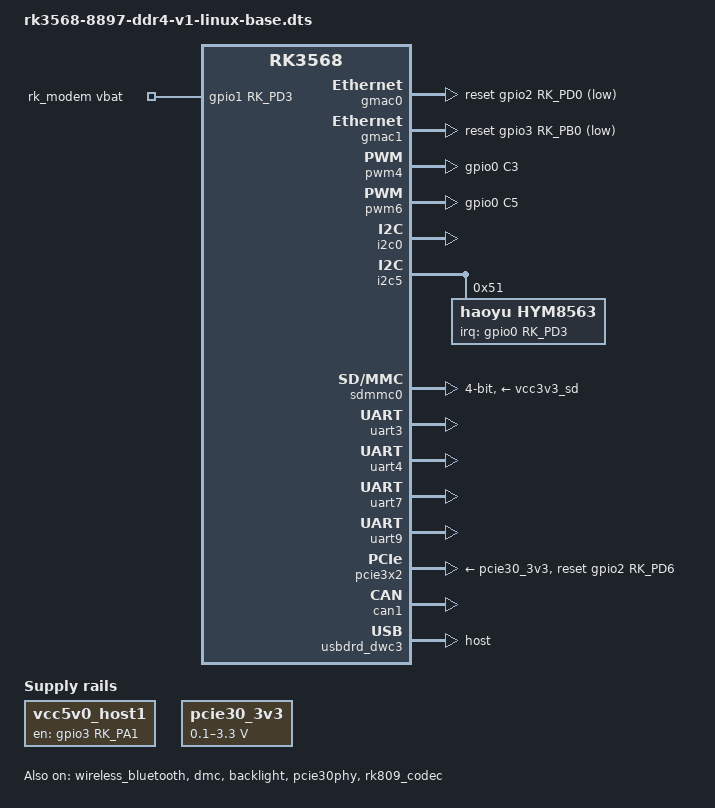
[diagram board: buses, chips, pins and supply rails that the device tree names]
// SPDX-License-Identifier: (GPL-2.0+ OR MIT)
/*
 * Copyright (c) 2020 Rockchip Electronics Co., Ltd.
 *
 */

#include "rk3568-evb1-ddr4-v10.dtsi"
#include "rk3568-linux.dtsi"
#include <dt-bindings/display/rockchip_vop.h>

/ {
    boardtype = "RK3568 8897 board V1 (linux base)";

	chosen: chosen {
		bootargs = "earlycon=uart8250,mmio32,0xfe660000 console=ttyFIQ0 root=PARTUUID=614e0000-0000 rw rootwait";
	};

	fiq-debugger {
		compatible = "rockchip,fiq-debugger";
		rockchip,serial-id = <2>;
		rockchip,wake-irq = <0>;
		/* If enable uart uses irq instead of fiq */
		rockchip,irq-mode-enable = <1>;
		rockchip,baudrate = <115200>;  /* Only 115200 and 1500000 */
		interrupts = <GIC_SPI 252 IRQ_TYPE_LEVEL_LOW>;
		pinctrl-names = "default";
		pinctrl-0 = <&uart2m0_xfer>;
		status = "okay";
	};

    lvds_panel: lvds-panel {
		compatible = "simple-panel";
        status = "disabled";
    };

    edp_panel: edp-panel {
        compatible ="simple-panel";
        status = "disabled";
    };

    ryd_gpio_control:ryd-gpio-control {
        compatible = "ryd_gpio_control";
        #address-cells = <1>;
        #size-cells = <0>;

        pinctrl-names = "default";
        pinctrl-0 = <&gl3523_reset &usb_host_en &hub_rst &gpio3_a4_mux &gpio3_a5_mux &gpio3_b5 &gpio3_c1 &gpio0_c4>;
        status = "okay";

	   	gl3523_rst: gl3523-rst {
		    gpio = <&gpio4 RK_PD2 GPIO_ACTIVE_HIGH>;
            //can set dir_in, default is dir_out
		    pull_cfg = <0>; //<0>=null, <1>=pulldown, <2>=pullup
		    sys_create;  // if set, will export the gpio in sysfs
		    export;
	    };

	   	usb_host_en{
		    gpio = <&gpio0 RK_PC6 GPIO_ACTIVE_HIGH>;
            //can set dir_in, default is dir_out
		    pull_cfg = <0>; //<0>=null, <1>=pulldown, <2>=pullup
		    sys_create;  // if set, will export the gpio in sysfs
		    export;
	    };
/*
	   	pcie_pwren{
		    gpio = <&gpio2 RK_PD7 GPIO_ACTIVE_HIGH>;
            //can set dir_in, default is dir_out
		    pull_cfg = <0>; //<0>=null, <1>=pulldown, <2>=pullup
		    //sys_create;  // if set, will export the gpio in sysfs
		    //export;
	    };
*/
	    hub_rst {
		    gpio = <&gpio3 RK_PA0 GPIO_ACTIVE_HIGH>;
            //can set dir_in, default is dir_out
		    pull_cfg = <0>; //<0>=null, <1>=pulldown, <2>=pullup
		    //sys_create;  // if set, will export the gpio in sysfs
	    };

	    gpio3_a4:gpio3_a4   {
		    gpio = <&gpio3 RK_PA4 GPIO_ACTIVE_HIGH>;
            //can set dir_in, default is dir_out
		    pull_cfg = <0>; //<0>=null, <1>=pulldown, <2>=pullup
		    sys_create;  // if set, will export the gpio in sysfs
		    export;
	    };

	    gpio3_a5:gpio3_a5  {
		    gpio = <&gpio3 RK_PA5 GPIO_ACTIVE_HIGH>;
            //can set dir_in, default is dir_out
		    pull_cfg = <0>; //<0>=null, <1>=pulldown, <2>=pullup
		    sys_create;  // if set, will export the gpio in sysfs
		    export;
	    };

	    gpio3_b5 {
		    gpio = <&gpio3 RK_PB5 GPIO_ACTIVE_HIGH>;
            //can set dir_in, default is dir_out
		    pull_cfg = <0>; //<0>=null, <1>=pulldown, <2>=pullup
		    sys_create;  // if set, will export the gpio in sysfs
		    export;
	    };
	    gpio3_c1{
		    gpio = <&gpio3 RK_PC1 GPIO_ACTIVE_HIGH>;
            //can set dir_in, default is dir_out
		    pull_cfg = <0>; //<0>=null, <1>=pulldown, <2>=pullup
		    sys_create;  // if set, will export the gpio in sysfs
		    export;
	    };
	   	gpio0_c4{
		    gpio = <&gpio0 RK_PC4 GPIO_ACTIVE_HIGH>;
            //can set dir_in, default is dir_out
		    pull_cfg = <0>; //<0>=null, <1>=pulldown, <2>=pullup
		    sys_create;  // if set, will export the gpio in sysfs
		    export;
	    };
    };

	rk_modem: rk-modem {
		compatible="4g-modem-platdata";
		pinctrl-names = "default";
		pinctrl-0 = <&lte_power_en &lte_reset>;
		4G,vbat-gpio = <&gpio1 RK_PD3 GPIO_ACTIVE_HIGH>;
        4G,disable = <&gpio1 RK_PB0 GPIO_ACTIVE_HIGH>;
		4G,power = <&gpio0 RK_PA0 GPIO_ACTIVE_HIGH>;
		4G,reset = <&gpio1 RK_PB2 GPIO_ACTIVE_HIGH>;
		status = "okay";
	};
/*
    usb_host_en: usb-host-en {
        compatible = "regulator-fixed";
        regulator-name = "usb-host-en";
        gpio = <&gpio0 RK_PC6 GPIO_ACTIVE_HIGH>;
        regulator-min-microvolt = <3300000>;
        regulator-max-microvolt = <3300000>;
        enable-active-high;
        regulator-always-on;
        regulator-boot-on;
    };
*/
	vcc5v0_host1: vcc5v0-host1-regulator {
		compatible = "regulator-fixed";
		enable-active-high;
		gpio = <&gpio3 RK_PA1 GPIO_ACTIVE_HIGH>;
		pinctrl-names = "default";
		pinctrl-0 = <&vcc5v0_host1_en>;
		regulator-name = "vcc5v0_host1";
		regulator-always-on;
	};

	pcie30_3v3: gpio-regulator {
		compatible = "regulator-gpio";
		regulator-name = "pcie30_3v3";
		regulator-min-microvolt = <100000>;
		regulator-max-microvolt = <3300000>;
		gpios = <&gpio2 RK_PD7 GPIO_ACTIVE_HIGH>;
		gpios-states = <0x1>;
		states = <100000 0x0
			  3300000 0x1>;
	};
};

&wireless_bluetooth {
	compatible = "bluetooth-platdata";
	clocks = <&rk809 1>;
	clock-names = "ext_clock";
	//wifi-bt-power-toggle;
	uart_rts_gpios = <&gpio2 RK_PB1 GPIO_ACTIVE_LOW>;
	pinctrl-names = "default", "rts_gpio";
	pinctrl-0 = <&uart8m0_rtsn>;
	pinctrl-1 = <&uart8_gpios>;
	BT,reset_gpio    = <&gpio0 RK_PD4 GPIO_ACTIVE_HIGH>;
	BT,wake_gpio     = <&gpio0 RK_PD6 GPIO_ACTIVE_HIGH>;
	BT,wake_host_irq = <&gpio0 RK_PD5 GPIO_ACTIVE_HIGH>;
	status = "okay";
};

&gmac0 {
	snps,reset-gpio = <&gpio2 RK_PD0 GPIO_ACTIVE_LOW>;
	status = "okay";
};

&gmac1 {
	snps,reset-gpio = <&gpio3 RK_PB0 GPIO_ACTIVE_LOW>;
	status = "okay";
};

// EDP1 backlight
&pwm4 {
    status = "okay";
    pinctrl-names = "active";
    pinctrl-0 = <&pwm4_pins>;
};

&pwm5 {
    status = "disabled";
};

&pwm6 {
    status = "okay";
    pinctrl-names = "active";
    pinctrl-0 = <&pwm6_pins>;
};

// LVDS backlight
&pwm7 {
    status = "disabled";
    pinctrl-names = "active";
    pinctrl-0 = <&pwm7_pins>;
};

&dmc {
    compatible = "rockchip,rk3568-dmc";
    interrupts = <GIC_SPI 10 IRQ_TYPE_LEVEL_HIGH>;
    interrupt-names = "complete";
    devfreq-events = <&dfi>;
    //clocks = <&cru SCLK_DDRCLK>;
    clock-names = "dmc_clk";
    operating-points-v2 = <&dmc_opp_table>;

    system-status-freq = <
        /*system status         freq(KHz)*/
        SYS_STATUS_NORMAL       780000
        SYS_STATUS_REBOOT       1184000
        SYS_STATUS_SUSPEND      324000
        SYS_STATUS_VIDEO_4K     780000
        SYS_STATUS_VIDEO_4K_10B 780000
        SYS_STATUS_BOOST        1184000
        SYS_STATUS_ISP          1184000
        SYS_STATUS_PERFORMANCE  1184000
        SYS_STATUS_DUALVIEW     1184000
    >;

    status = "okay";
};

&dmc_opp_table{
    compatible = "operating-points-v2";

    mbist-vmin = <825000 900000 950000>;
    nvmem-cells = <&log_leakage>, <&core_pvtm>, <&mbist_vmin>;
    nvmem-cell-names = "leakage", "pvtm", "mbist-vmin";
    rockchip,temp-hysteresis = <5000>;
    rockchip,low-temp = <0>;
    rockchip,low-temp-adjust-volt = <
        /* MHz    MHz    uV */
            0      1560   25000
    >;
    rockchip,leakage-voltage-sel = <
            1   80    0
            81  254   1
    >;

    opp-324000000 {
        opp-hz = /bits/ 64 <324000000>;
        opp-microvolt = <900000>;
        opp-microvolt-L0 = <900000>;
        opp-microvolt-L1 = <850000>;
    };
    opp-528000000 {
        opp-hz = /bits/ 64 <528000000>;
        opp-microvolt = <900000>;
        opp-microvolt-L0 = <900000>;
        opp-microvolt-L1 = <850000>;
    };
    opp-780000000 {
        opp-hz = /bits/ 64 <780000000>;
        opp-microvolt = <900000>;
        opp-microvolt-L0 = <900000>;
        opp-microvolt-L1 = <850000>;
    };
    opp-920000000 {
        opp-hz = /bits/ 64 <920000000>;
        opp-microvolt = <900000>;
        opp-microvolt-L0 = <900000>;
        opp-microvolt-L1 = <850000>;
    };
    opp-1184000000 {
        opp-hz = /bits/ 64 <1184000000>;
        opp-microvolt = <900000>;
        opp-microvolt-L0 = <900000>;
        opp-microvolt-L1 = <850000>;
    };
    opp-1560000000 {
        opp-hz = /bits/ 64 <1560000000>;
        opp-microvolt = <900000>;
        opp-microvolt-L0 = <900000>;
        opp-microvolt-L1 = <850000>;
        status = "disabled";
    };
};

&i2c0 {
    status = "okay";
};

&i2c4 {
    status = "disabled";
};

&i2c5 {
    status = "okay";

	hym8563: hym8563@51 {
		compatible = "haoyu,hym8563";
		reg = <0x51>;

		interrupt-parent = <&gpio0>;
		interrupts = <RK_PD3 IRQ_TYPE_EDGE_FALLING>;

		pinctrl-names = "default";
		pinctrl-0 = <&pmic_int>;

		#clock-cells = <0>;
		clock-output-names = "xin32k";
	};
};

&rk809 {
	rtc {
		status = "disabled";
	};
};

// MIPI-DSI configuration
&dsi0 {
	status = "disabled";
};


&dsi0_in_vp0 {
	status = "disabled";
};

&dsi0_in_vp1 {
    status = "disabled";
};

&sdmmc0 {
	max-frequency = <150000000>;
	supports-sd;
	bus-width = <4>;
	cap-mmc-highspeed;
	cap-sd-highspeed;
	disable-wp;
	sd-uhs-sdr104;
	vmmc-supply = <&vcc3v3_sd>;
	vqmmc-supply = <&vccio_sd>;
	pinctrl-names = "default";
	pinctrl-0 = <&sdmmc0_bus4 &sdmmc0_clk &sdmmc0_cmd &sdmmc0_det>;
	status = "okay";
};

&pmu_io_domains {
	status = "okay";
	pmuio1-supply = <&vcc3v3_pmu>;
	pmuio2-supply = <&vcc3v3_pmu>;
	vccio1-supply = <&vccio_acodec>;
	vccio3-supply = <&vccio_sd>;
	vccio4-supply = <&vcc_1v8>;
	vccio5-supply = <&vcc_3v3>;
	vccio6-supply = <&vcc_1v8>;
	vccio7-supply = <&vcc_3v3>;

};

&vcc3v3_lcd0_n {
	gpio = <&gpio0 RK_PC5 GPIO_ACTIVE_HIGH>;
	enable-active-high;
    regulator-always-on;
};

&vcc3v3_lcd1_n {
	gpio = <&gpio0 RK_PC7 GPIO_ACTIVE_HIGH>;
	enable-active-high;
    regulator-always-on;
};

&backlight {
    status = "okay";
	pwms = <&pwm4 0 500000 0>;
    enable-gpios = <&gpio3 RK_PA2 GPIO_ACTIVE_LOW>;
    pinctrl-0 = <&lcd0_bl_en>;      
	brightness-levels = <
			255	254	253	252	251	250	249	248	
		 	247 246 245 244 243 242 241 240
			239 238 237 236 235 234 233 232 
			231 230 229 228 227 226 225 224 
			223 222 221 220 219 218 217 216 
			215 214 213 212 211 210 209 208 
			207 206 205 204 203 202 201 200 
			199 198 197 196 195 194 193 192 
			191 190 189 188 187 186 185 184 
			183 182 181 180 179 178 177 176 
			175 174 173 172 171 170 169 168 
			167 166 165 164 163 162 161 160 
			159 158 157 156 155 154 153 152 
			151 150 149 148 147 146 145 144 
			143 142 141 140 139 138 137 136 
			135 134 133 132 131 130 129 128 
			127 126 125 124 123 122 121 120 
			119 118 117 116 115 114 113 112 
			111 110 109 108 107 106 105 104 
			103 102 101 100 99 	98 	97 	96 
			95 	94 	93 	92 	91 	90 	89 	88 
			87 	86 	85 	84 	83 	82 	81 	80 
			79 	78 	77 	76 	75 	74 	73	72 
			71 	70 	69 	68 	67 	66 	65 	64 
			63 	62 	61 	60 	59 	58 	57 	56 
			55 	54 	53 	52 	51 	50 	49 	48 
			47 	46 	45 	44 	43 	42 	41 	40 
			39 	38 	37 	36 	35 	34 	33 	32 
			31 	30 	29 	28 	27 	26 	25 	24 
			23 	22 	21 	20	19	18	17	16
			15	14	13	12	11	10	9	8
			7	6	5	4	3	2	1	0>;
	default-brightness-level = <200>;
};

&uart0 {
    status = "disabled";
};

&uart1 {
    status = "disabled";
    pinctrl-names = "default";
    pinctrl-0 = <&uart1m1_xfer>;
};
&uart3 {
    status = "okay";
    pinctrl-names = "default";
    pinctrl-0 = <&uart3m1_xfer>;
};
&uart4 {
    status = "okay";
    pinctrl-names = "default";
    pinctrl-0 = <&uart4m1_xfer>;
};
&uart7 {
    status = "okay";
    pinctrl-names = "default";
    pinctrl-0 = <&uart7m1_xfer>;
};
&uart9 {
    status = "okay";
    pinctrl-names = "default";
    pinctrl-0 = <&uart9m1_xfer>;
};


// MUST disable PCI-E function, 
// otherwise kernel will stall
&pcie30phy {
    status = "okay";
};

&pcie3x2 {
	reset-gpios = <&gpio2 RK_PD6 GPIO_ACTIVE_HIGH>;
	vpcie3v3-supply = <&pcie30_3v3>;
	max-link-speed= <3>;
	status = "okay";
};

&rk809_codec {
    status = "okay";
    hp-volume = <3>;
    spk-ctl-gpios =<&gpio3 RK_PC3 GPIO_ACTIVE_HIGH>;
    pinctrl-names = "default";
    pinctrl-0 = <&spk_ctl_gpios &i2s1m0_mclk>;
    spk-volume = <3>;
};

&pwm11 {
    status = "disabled";
};

&spdif_out {
    status = "disabled";
};

&spdif_8ch {
    status = "disabled";
};

&can1 {
    status = "okay";

	assigned-clocks = <&cru CLK_CAN1>;
	assigned-clock-rates = <100000000>;
};

&usbdrd_dwc3 {
    dr_mode = "host";
    status = "okay";
};

&pinctrl {
    backlight {
        lcd0_bl_en: lcd0_bl_en {
            rockchip,pins = <3 RK_PA2 RK_FUNC_GPIO &pcfg_pull_down>;
        };
/*
        lcd1_bl_en: lcd1_bl_en {
            rockchip,pins = <3 RK_PB6 RK_FUNC_GPIO &pcfg_pull_down>;
        };
*/
    };
    rk809{
        spk_ctl_gpios: spk-ctl-gpios{
           rockchip,pins = <RK_GPIO4 RK_PC0 RK_FUNC_GPIO &pcfg_pull_none>;
        };
    };
    pwm4 {
        pwm4_pins: pwm4-pins {
            rockchip,pins = <0 RK_PC3 RK_FUNC_1 &pcfg_pull_none>;
        };
    };
    pwm6 {
        pwm6_pins: pwm6-pins {
            rockchip,pins = <0 RK_PC5 RK_FUNC_1 &pcfg_pull_none>;
        };
    };
    usb {
        vcc5v0_host1_en: vcc5v0-host1-en {
            rockchip,pins = <3 RK_PA1 RK_FUNC_GPIO &pcfg_pull_none>;
        };
    };
    rk-modem {
        lte_power_en: lte-power-en {
            rockchip,pins = <0 RK_PA0 RK_FUNC_GPIO &pcfg_pull_up>;
        };
        lte_reset: lte-reset {
            rockchip,pins = <1 RK_PB2 RK_FUNC_GPIO &pcfg_pull_none>;
        };
    };

    ryd_gpio_control {
        gl3523_reset: gl3523-reset {
            rockchip,pins = <RK_GPIO4 RK_PD2 RK_FUNC_GPIO &pcfg_pull_none>;
        };
        hub_rst: usb-otg-en {
            rockchip,pins = <RK_GPIO3 RK_PA0 RK_FUNC_GPIO &pcfg_pull_none>;
        };
        usb_host_en: usb-host-en {
            rockchip,pins = <RK_GPIO0 RK_PC6 RK_FUNC_GPIO &pcfg_pull_none>;
		};
        cash_pr_en: cash-pr-en {
            rockchip,pins = <RK_GPIO3 RK_PB0 RK_FUNC_GPIO &pcfg_pull_none>;
        };

        gpio3_a4_mux: gpio3-a4-mux {
            rockchip,pins = <RK_GPIO3 RK_PA4 RK_FUNC_GPIO &pcfg_pull_none>;
        };
        gpio3_a5_mux: gpio3-a5-mux {
            rockchip,pins = <RK_GPIO3 RK_PA5 RK_FUNC_GPIO &pcfg_pull_none>;
        };

        gpio3_b5: gpio3-b5 {
            rockchip,pins = <RK_GPIO3 RK_PB5 RK_FUNC_GPIO &pcfg_pull_none>;
        };
        gpio3_c1: gpio3-c1 {
            rockchip,pins = <RK_GPIO3 RK_PC1 RK_FUNC_GPIO &pcfg_pull_none>;
        };
        gpio0_c4: gpio0-c4 {
            rockchip,pins = <RK_GPIO0 RK_PC4 RK_FUNC_GPIO &pcfg_pull_none>;
        };
    };
};
